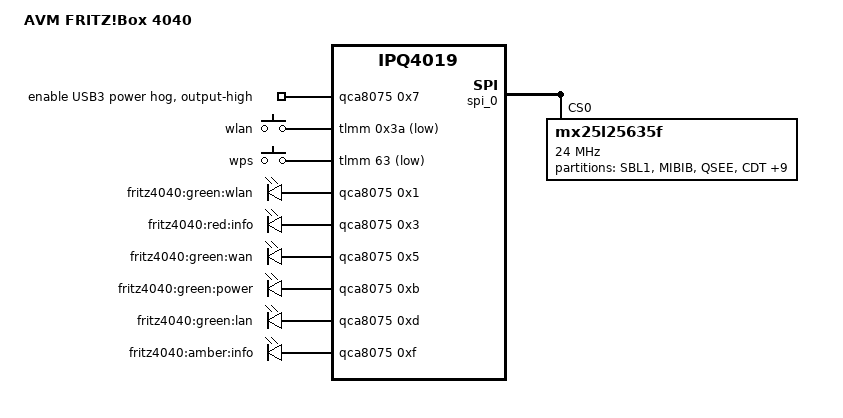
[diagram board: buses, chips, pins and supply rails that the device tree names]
/* Copyright (c) 2015, The Linux Foundation. All rights reserved.
 *
 * Permission to use, copy, modify, and/or distribute this software for any
 * purpose with or without fee is hereby granted, provided that the above
 * copyright notice and this permission notice appear in all copies.
 *
 * THE SOFTWARE IS PROVIDED "AS IS" AND THE AUTHOR DISCLAIMS ALL WARRANTIES
 * WITH REGARD TO THIS SOFTWARE INCLUDING ALL IMPLIED WARRANTIES OF
 * MERCHANTABILITY AND FITNESS. IN NO EVENT SHALL THE AUTHOR BE LIABLE FOR
 * ANY SPECIAL, DIRECT, INDIRECT, OR CONSEQUENTIAL DAMAGES OR ANY DAMAGES
 * WHATSOEVER RESULTING FROM LOSS OF USE, DATA OR PROFITS, WHETHER IN AN
 * ACTION OF CONTRACT, NEGLIGENCE OR OTHER TORTIOUS ACTION, ARISING OUT OF
 * OR IN CONNECTION WITH THE USE OR PERFORMANCE OF THIS SOFTWARE.
 *
 */

#include "qcom-ipq4019-ap.dk01.1.dtsi"
#include "qcom-ipq4019-bus.dtsi"
#include <dt-bindings/gpio/gpio.h>
#include <dt-bindings/input/input.h>

/ {
	model = "AVM FRITZ!Box 4040";
	compatible = "avm,fritzbox-4040", "qcom,ipq4019";

	reserved-memory {
		#address-cells = <0x1>;
		#size-cells = <0x1>;
		ranges;

		rsvd1@87000000 {
			reg = <0x87000000 0x500000>;
			no-map;
		};

		wifi_dump@87500000 {
			reg = <0x87500000 0x600000>;
			no-map;
		};

		rsvd2@87B00000 {
			reg = <0x87b00000 0x500000>;
			no-map;
		};
	};
/*
	This also works. Maybe it could be smaller still.

	reserved-memory {
		#address-cells = <0x1>;
		#size-cells = <0x1>;
		ranges;

		rsvd1@87E00000 {
			reg = <0x87e00000 0x200000>;
			no-map;
		};
	};
*/

	soc {
		qca8075: ess-switch@c000000 {
			status = "okay";

			#gpio-cells = <2>;
			gpio-controller;

			enable-usb-power {
				gpio-hog;
				line-name = "enable USB3 power";
				gpios = <0x7 GPIO_ACTIVE_HIGH>;
				output-high;
			};
		};
	};

	gpio-keys {
		compatible = "gpio-keys";

		wlan {
			label = "wlan";
			gpios = <&tlmm 0x3a GPIO_ACTIVE_LOW>;
			linux,code = <KEY_RFKILL>;
		};

		wps {
			label = "wps";
			gpios = <&tlmm 63 GPIO_ACTIVE_LOW>;
			linux,code = <KEY_WPS_BUTTON>;
		};
	};

	aliases {
		led-boot = &power;
		led-failsafe = &flash;
		led-running = &power;
		led-upgrade = &flash;
	};

	gpio-leds {
		compatible = "gpio-leds";

		wlan {
			label = "fritz4040:green:wlan";
			gpios = <&qca8075 0x1 GPIO_ACTIVE_HIGH>;
		};

		panic: info_red {
			label = "fritz4040:red:info";
			gpios = <&qca8075 0x3 GPIO_ACTIVE_HIGH>;
			panic-indicator;
		};

		wan {
			label = "fritz4040:green:wan";
			gpios = <&qca8075 0x5 GPIO_ACTIVE_HIGH>;
		};

		power: power {
			label = "fritz4040:green:power";
			gpios = <&qca8075 0xb GPIO_ACTIVE_HIGH>;
		};

		lan {
			label = "fritz4040:green:lan";
			gpios = <&qca8075 0xd GPIO_ACTIVE_HIGH>;
		};

		flash: info_amber {
			label = "fritz4040:amber:info";
			gpios = <&qca8075 0xf GPIO_ACTIVE_HIGH>;
		};
	};
};

&spi_0 { /* BLSP1 QUP1 */
	mx25l25635f@0 {
		compatible = "mx25l25635f", "jedec,spi-nor";
		#address-cells = <1>;
		#size-cells = <0>;
		reg = <0>;
		spi-max-frequency = <24000000>;
		status = "ok";
		m25p,fast-read;

		partitions {
			compatible = "fixed-partitions";
			#address-cells = <1>;
			#size-cells = <1>;

			partition0@0 {
				label = "SBL1";
				reg = <0x00000000 0x00040000>;
				read-only;
			};
			partition1@40000 {
				label = "MIBIB";
				reg = <0x00040000 0x00020000>;
				read-only;
			};
			partition2@60000 {
				label = "QSEE";
				reg = <0x00060000 0x00060000>;
				read-only;
			};
			partition3@c0000 {
				label = "CDT";
				reg = <0x000c0000 0x00010000>;
				read-only;
			};
			partition4@d0000 {
				label = "DDRPARAMS";
				reg = <0x000d0000 0x00010000>;
				read-only;
			};
			partition5@e0000 {
				label = "APPSBLENV"; /* uboot env - empty */
				reg = <0x000e0000 0x00010000>;
				read-only;
			};
			partition6@f0000 {
				label = "urlader"; /* APPSBL */
				reg = <0x000f0000 0x0002dc000>;
				read-only;
			};
			partition7@11dc00 {
				/* make a backup of this partition! */
				label = "urlader_config";
				reg = <0x0011dc00 0x00002400>;
				read-only;
			};
			partition8@120000 {
				label = "tffs1";
				reg = <0x00120000 0x00080000>;
				read-only;
			};
			partition9@1a0000 {
				label = "tffs2";
				reg = <0x001a0000 0x00080000>;
				read-only;
			};
			partition10@220000 {
				label = "uboot";
				reg = <0x00220000 0x00080000>;
				read-only;
			};
			partition11@2A0000 {
				label = "firmware";
				reg = <0x002A0000 0x01C60000>;
			};
			partition12@1f00000 {
				label = "jffs2";
				reg = <0x01F00000 0x00100000>;
			};
		};
	};
};
